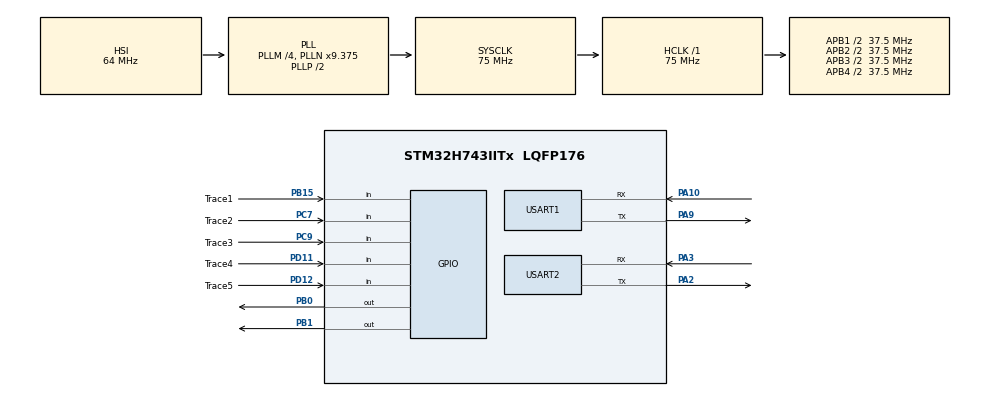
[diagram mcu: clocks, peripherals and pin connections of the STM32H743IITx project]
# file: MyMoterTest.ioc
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Mcu.Family=STM32H7
Mcu.Name=STM32H743IITx
Mcu.Package=LQFP176
NVIC.PriorityGroup=NVIC_PRIORITYGROUP_4
PA10.Mode=Asynchronous
PA10.Signal=USART1_RX
PA2.Mode=Asynchronous
PA2.Signal=USART2_TX
PA3.Mode=Asynchronous
PA3.Signal=USART2_RX
PA9.Mode=Asynchronous
PA9.Signal=USART1_TX
PB0.Signal=GPIO_Output
PB1.Signal=GPIO_Output
PB15.GPIO_Label=Trace1
PB15.GPIO_PuPd=GPIO_PULLDOWN
PB15.Signal=GPIO_Input
PC7.GPIO_Label=Trace2
PC7.GPIO_PuPd=GPIO_PULLDOWN
PC7.Signal=GPIO_Input
PC9.GPIO_Label=Trace3
PC9.GPIO_PuPd=GPIO_PULLDOWN
PC9.Signal=GPIO_Input
PD11.GPIO_Label=Trace4
PD11.GPIO_PuPd=GPIO_PULLDOWN
PD11.Signal=GPIO_Input
PD12.GPIO_Label=Trace5
PD12.GPIO_PuPd=GPIO_PULLDOWN
PD12.Signal=GPIO_Input
PH0-OSC_IN\ (PH0).Mode=HSE-External-Oscillator
PH0-OSC_IN\ (PH0).Signal=RCC_OSC_IN
PH1-OSC_OUT\ (PH1).Mode=HSE-External-Oscillator
PH1-OSC_OUT\ (PH1).Signal=RCC_OSC_OUT
ProjectManager.HeapSize=0x200
ProjectManager.StackSize=0x400
ProjectManager.TargetToolchain=MDK-ARM V5
RCC.ADCFreq_Value=129000000
RCC.APB1Freq_Value=37500000
RCC.APB2Freq_Value=37500000
RCC.APB3Freq_Value=37500000
RCC.APB4Freq_Value=37500000
RCC.CortexFreq_Value=75000000
RCC.D1PPRE=RCC_APB3_DIV2
RCC.D2PPRE1=RCC_APB1_DIV2
RCC.D2PPRE2=RCC_APB2_DIV2
RCC.D3PPRE=RCC_APB4_DIV2
RCC.DIVM1=4
RCC.DIVN1=9
RCC.HCLKFreq_Value=75000000
RCC.PLLFRACN=3072
RCC.SYSCLKFreq_VALUE=75000000
RCC.SYSCLKSource=RCC_SYSCLKSOURCE_PLLCLK
RCC.USBFreq_Value=75000000
USART1.VirtualMode-Asynchronous=VM_ASYNC
USART2.VirtualMode-Asynchronous=VM_ASYNC
board=custom

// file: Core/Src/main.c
/* USER CODE BEGIN Header */
/**
  ******************************************************************************
  * @file           : main.c
  * @brief          : Main program body
  ******************************************************************************
  * @attention
  *
  * <h2><center>&copy; Copyright (c) 2021 STMicroelectronics.
  * All rights reserved.</center></h2>
  *
  * This software component is licensed by ST under BSD 3-Clause license,
  * the "License"; You may not use this file except in compliance with the
  * License. You may obtain a copy of the License at:
  *                        opensource.org/licenses/BSD-3-Clause
  *
  ******************************************************************************
  */
/* USER CODE END Header */
#include "main.h"
#include "usart.h"
#include "gpio.h"

/* USER CODE BEGIN Includes */
#include "stdio.h"

/* USER CODE END Includes */

/* USER CODE BEGIN PV */
int trc1, trc2, trc3, trc4, trc5;
int case1_1, case1_2, case1_3;
int case2_1, case2_2, case2_3, case2_4, case2_5, case2_6;
int case3_1, case3_2, case3_3, case3_4, case3_5, case3_6;
int case4, case5;
int StartFlag = 1;
int Flag_Right = 0, Flag_Left = 0;
int endpoint = 0;
/* USER CODE END PV */

void SystemClock_Config(void);
/* USER CODE BEGIN PFP */
void StartMotor(void);
void TurnRight(void);
void TurnLeft(void);
void TurnBack(void);
void RotateRight(void);
void RotateLeft(void);
void Foward(void);
/* USER CODE END PFP */

int main(void)
{

  /* MCU Configuration--------------------------------------------------------*/

  /* Reset of all peripherals, Initializes the Flash interface and the Systick. */
  HAL_Init();

  /* Configure the system clock */
  SystemClock_Config();

  /* Initialize all configured peripherals */
  MX_GPIO_Init();
  MX_USART1_UART_Init();
  MX_USART2_UART_Init();

  /* Infinite loop */
  /* USER CODE BEGIN WHILE */
  while (1)
  {

		//Read the trace sensor data
		trc1 = HAL_GPIO_ReadPin(Trace1_GPIO_Port, Trace1_Pin);
		trc2 = HAL_GPIO_ReadPin(Trace2_GPIO_Port, Trace2_Pin);
		trc3 = HAL_GPIO_ReadPin(Trace3_GPIO_Port, Trace3_Pin);
		trc4 = HAL_GPIO_ReadPin(Trace5_GPIO_Port, Trace5_Pin);
		trc5 = HAL_GPIO_ReadPin(Trace4_GPIO_Port, Trace4_Pin);

		//printf("out1:%d\r\nout2:%d\r\nout3:%d\r\nout4:%d\r\nout5:%d\r\n",trc1, trc2, trc3, trc4, trc5);

		//Situation Forward:
		case1_1 = trc1==1 && trc2==0 && trc3==0 && trc4==1 && trc5==1;
		case1_2 = trc1==1 && trc2==1 && trc3==0 && trc4==0 && trc5==1;
		case1_3 = trc1==1 && trc2==0 && trc3==0 && trc4==0 && trc5==1;
		//Situation Right:
		case2_1 = trc1==0 && trc2==0 && trc3==1 && trc4==1 && trc5==1;
		case2_2 = trc1==0 && trc2==1 && trc3==1 && trc4==1 && trc5==1;
	  case2_3 = trc1==1 && trc2==0 && trc3==1 && trc4==1 && trc5==1; //out2 black - small correction
	  case2_4 = trc1==0 && trc2==0 && trc3==0 && trc4==1 && trc5==1;
		case2_5 = trc1==0 && trc2==0 && trc3==0 && trc4==0 && trc5==1;
		case2_6 = trc1==0 && trc2==1 && trc3==0 && trc4==1 && trc5==1;
		//Situation Left:
		case3_1 = trc1==1 && trc2==1 && trc3==1 && trc4==0 && trc5==0;
		case3_2 = trc1==1 && trc2==1 && trc3==1 && trc4==1 && trc5==0;
		case3_3 = trc1==1 && trc2==1 && trc3==1 && trc4==0 && trc5==1; //out4 black - small correction
		case3_4 = trc1==1 && trc2==1 && trc3==0 && trc4==0 && trc5==0;
		case3_5 = trc1==1 && trc2==0 && trc3==0 && trc4==0 && trc5==0;
		case3_6 = trc1==1 && trc2==1 && trc3==0 && trc4==0 && trc5==0;
    //other SItuation
		case4 = trc1==0 && trc2==0 && trc3==0 && trc4==0 && trc5==0;
		case5 = trc1==1 && trc2==1 && trc3==1 && trc4==1 && trc5==1;

		if (StartFlag){
			StartMotor();
			StartFlag = 0;
		}
		if (endpoint >= 5){
			printf("End!");
			Motor_Rotate(1,1500,2000);
			Motor_Rotate(2,1500,2000);
			Motor_Rotate(3,1500,2000);
			Motor_Rotate(4,1500,2000);
		}else{
			if (case1_1 || case1_2 || case1_3){
				Foward();
				//printf("Foward!\r\n");
			}else if(case2_1 || case2_2 || case2_3 || case2_4 || case2_5 ){
				RotateLeft();
				//TurnLeft();
				//printf("Left!\r\n");
			}else if(case3_1 || case3_2 || case3_3 || case3_4 || case3_5 ){
				RotateRight();
				//TurnRight();
				//printf("Right!\r\n");
			}else if(case5){
				TurnBack();
				//printf("Back!\r\n");
			}else if(case4){
				endpoint = endpoint + 1;
				Foward();
				HAL_Delay(100);
				//printf("!!!!!!!!!!!!!!!!!!!!!!!, end: %d\r\n", endpoint);
			}else{
				Foward();
			}

			HAL_Delay(1); //Frequency: 1000Hz

		}

    /* USER CODE END WHILE */

  }
}

void SystemClock_Config(void)
{
  RCC_OscInitTypeDef RCC_OscInitStruct = {0};
  RCC_ClkInitTypeDef RCC_ClkInitStruct = {0};
  RCC_PeriphCLKInitTypeDef PeriphClkInitStruct = {0};

  /** Supply configuration update enable
  */
  HAL_PWREx_ConfigSupply(PWR_LDO_SUPPLY);
  /** Configure the main internal regulator output voltage
  */
  __HAL_PWR_VOLTAGESCALING_CONFIG(PWR_REGULATOR_VOLTAGE_SCALE3);

  while(!__HAL_PWR_GET_FLAG(PWR_FLAG_VOSRDY)) {}
  /** Initializes the RCC Oscillators according to the specified parameters
  * in the RCC_OscInitTypeDef structure.
  */
  RCC_OscInitStruct.OscillatorType = RCC_OSCILLATORTYPE_HSI;
  RCC_OscInitStruct.HSIState = RCC_HSI_DIV1;
  RCC_OscInitStruct.HSICalibrationValue = RCC_HSICALIBRATION_DEFAULT;
  RCC_OscInitStruct.PLL.PLLState = RCC_PLL_ON;
  RCC_OscInitStruct.PLL.PLLSource = RCC_PLLSOURCE_HSI;
  RCC_OscInitStruct.PLL.PLLM = 4;
  RCC_OscInitStruct.PLL.PLLN = 9;
  RCC_OscInitStruct.PLL.PLLP = 2;
  RCC_OscInitStruct.PLL.PLLQ = 2;
  RCC_OscInitStruct.PLL.PLLR = 2;
  RCC_OscInitStruct.PLL.PLLRGE = RCC_PLL1VCIRANGE_3;
  RCC_OscInitStruct.PLL.PLLVCOSEL = RCC_PLL1VCOMEDIUM;
  RCC_OscInitStruct.PLL.PLLFRACN = 3072;
  if (HAL_RCC_OscConfig(&RCC_OscInitStruct) != HAL_OK)
  {
    Error_Handler();
  }
  /** Initializes the CPU, AHB and APB buses clocks
  */
  RCC_ClkInitStruct.ClockType = RCC_CLOCKTYPE_HCLK|RCC_CLOCKTYPE_SYSCLK
                              |RCC_CLOCKTYPE_PCLK1|RCC_CLOCKTYPE_PCLK2
                              |RCC_CLOCKTYPE_D3PCLK1|RCC_CLOCKTYPE_D1PCLK1;
  RCC_ClkInitStruct.SYSCLKSource = RCC_SYSCLKSOURCE_PLLCLK;
  RCC_ClkInitStruct.SYSCLKDivider = RCC_SYSCLK_DIV1;
  RCC_ClkInitStruct.AHBCLKDivider = RCC_HCLK_DIV1;
  RCC_ClkInitStruct.APB3CLKDivider = RCC_APB3_DIV2;
  RCC_ClkInitStruct.APB1CLKDivider = RCC_APB1_DIV2;
  RCC_ClkInitStruct.APB2CLKDivider = RCC_APB2_DIV2;
  RCC_ClkInitStruct.APB4CLKDivider = RCC_APB4_DIV2;

  if (HAL_RCC_ClockConfig(&RCC_ClkInitStruct, FLASH_LATENCY_1) != HAL_OK)
  {
    Error_Handler();
  }
  PeriphClkInitStruct.PeriphClockSelection = RCC_PERIPHCLK_USART2|RCC_PERIPHCLK_USART1;
  PeriphClkInitStruct.Usart234578ClockSelection = RCC_USART234578CLKSOURCE_D2PCLK1;
  PeriphClkInitStruct.Usart16ClockSelection = RCC_USART16CLKSOURCE_D2PCLK2;
  if (HAL_RCCEx_PeriphCLKConfig(&PeriphClkInitStruct) != HAL_OK)
  {
    Error_Handler();
  }
}

/* USER CODE BEGIN 4 */
//Start our Motors
void StartMotor(void){
	Motor_Rotate(1,800,2000);
	Motor_Rotate(2,800,2000);
	Motor_Rotate(3,2000,2000);
	Motor_Rotate(4,2000,2000);
}
//Move Right
void TurnRight(void)
{
	/*ID: 1-RightFront 2-RightRear 3-LeftRear 4-LeftFront*/
	/*Velocity: 1500-2500_clockwise 500-1500_counterclocwist*/
	Motor_Rotate(1,1100,2000);
	Motor_Rotate(2,1100,2000);
	Motor_Rotate(3,2000,2000);
	Motor_Rotate(4,2000,2000);
}

void RotateRight(void){
	/*ID: 1-RightFront 2-RightRear 3-LeftRear 4-LeftFront*/
	/*Velocity: 1500-2500_clockwise 500-1500_counterclocwist*/
	if (case3_3){ //small correction - Just turn not rotate
		Motor_Rotate(1,1000,1000);
		Motor_Rotate(2,1000,1000);
		Motor_Rotate(3,2020,1000);
		Motor_Rotate(4,2020,1000);
	}else if (case3_1){
		Motor_Rotate(1,1900,1000);
		Motor_Rotate(2,1900,1000);
		Motor_Rotate(3,1900,1000);
		Motor_Rotate(4,1900,1000);
	}else if (case3_2){
		Motor_Rotate(1,2200,2000);
		Motor_Rotate(2,2200,2000);
		Motor_Rotate(3,2200,2000);
		Motor_Rotate(4,2200,2000);
	}else{
		Motor_Rotate(1,2400,2000);
		Motor_Rotate(2,2400,2000);
		Motor_Rotate(3,2400,2000);
		Motor_Rotate(4,2400,2000);
	}
}

//Move left
void TurnLeft(void)
{
	/*ID: 1-RightFront 2-RightRear 3-LeftRear 4-LeftFront*/
	/*Velocity: 1500-2500_clockwise 500-1500_counterclocwist*/
	Motor_Rotate(1,1000,2000);
	Motor_Rotate(2,1000,2000);
	Motor_Rotate(3,1700,2000);
	Motor_Rotate(4,1700,2000);
}

void RotateLeft(void){
	/*ID: 1-RightFront 2-RightRear 3-LeftRear 4-LeftFront*/
	/*Velocity: 1500-2500_clockwise 500-1500_counterclocwist*/
	if (case2_3){ //small correction - Just turn not rotate
		Motor_Rotate(1,980,2000);
		Motor_Rotate(2,980,2000);
		Motor_Rotate(3,2000,2000);
		Motor_Rotate(4,2000,2000);
	}else if (case2_1){
		Motor_Rotate(1,560,2000);
		Motor_Rotate(2,560,2000);
		Motor_Rotate(3,560,2000);
		Motor_Rotate(4,560,2000);
	}else if(case2_2){
		Motor_Rotate(1,530,2000);
		Motor_Rotate(2,530,2000);
		Motor_Rotate(3,530,2000);
		Motor_Rotate(4,530,2000);
	}else {
		Motor_Rotate(1,500,2000);
		Motor_Rotate(2,500,2000);
		Motor_Rotate(3,500,2000);
		Motor_Rotate(4,500,2000);
	}
}

//Move Foward
void Foward(void)
{
	/*ID: 1-RightFront 2-RightRear 3-LeftRear 4-LeftFront*/
	/*Velocity: 1500-2500_clockwise 500-1500_counterclocwist*/
	Motor_Rotate(1,1000,2000);
	Motor_Rotate(2,1000,2000);
	Motor_Rotate(3,2000,2000);
	Motor_Rotate(4,2000,2000);
}

//Move back
void TurnBack(void)
{
	/*ID: 1-RightFront 2-RightRear 3-LeftRear 4-LeftFront*/
	/*Velocity: 1500-2500_clockwise 500-1500_counterclocwist*/
	Motor_Rotate(1,2100,2000);
	Motor_Rotate(2,2100,2000);
	Motor_Rotate(3,900,2000);
	Motor_Rotate(4,900,2000);
}
/* USER CODE END 4 */

void Error_Handler(void)
{
}

/************************ (C) COPYRIGHT STMicroelectronics *****END OF FILE****/
